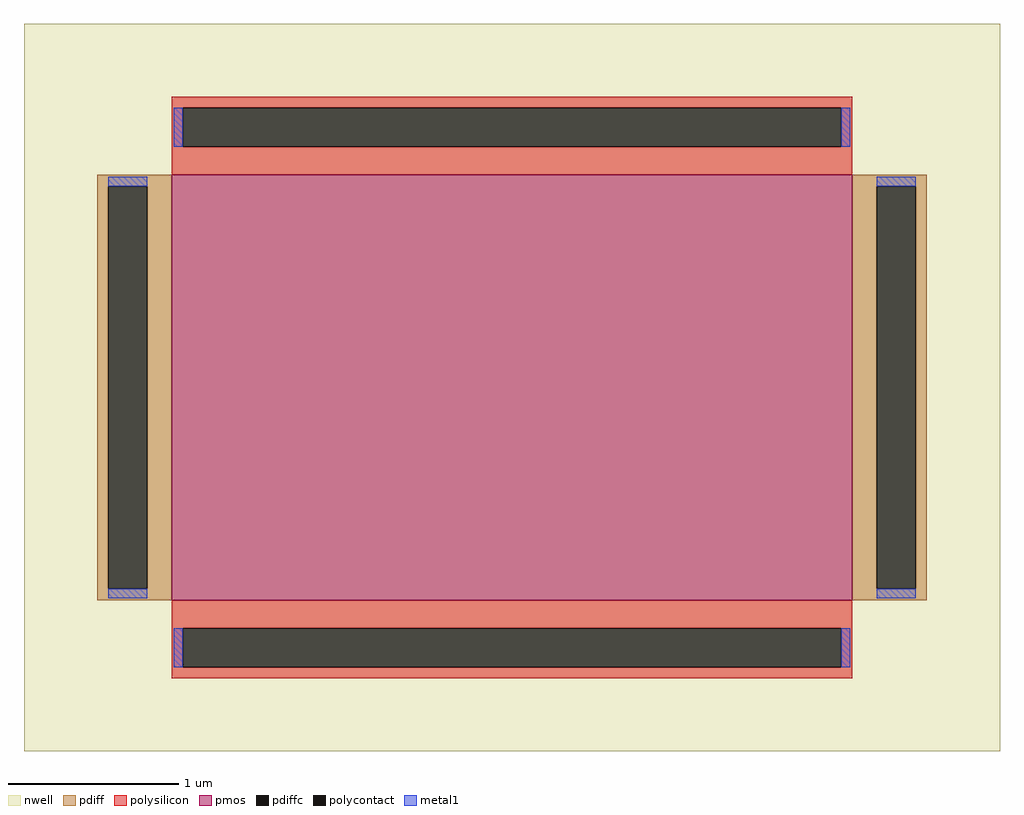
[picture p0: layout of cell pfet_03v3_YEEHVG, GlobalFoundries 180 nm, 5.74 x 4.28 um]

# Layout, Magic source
magic
tech gf180mcuD
magscale 1 10
<< nwell >>
rect -574 -428 574 428
<< pmos >>
rect -400 -250 400 250
<< pdiff >>
rect -488 237 -400 250
rect -488 -237 -475 237
rect -429 -237 -400 237
rect -488 -250 -400 -237
rect 400 237 488 250
rect 400 -237 429 237
rect 475 -237 488 237
rect 400 -250 488 -237
<< pdiffc >>
rect -475 -237 -429 237
rect 429 -237 475 237
<< polysilicon >>
rect -400 329 400 342
rect -400 283 -387 329
rect 387 283 400 329
rect -400 250 400 283
rect -400 -283 400 -250
rect -400 -329 -387 -283
rect 387 -329 400 -283
rect -400 -342 400 -329
<< polycontact >>
rect -387 283 387 329
rect -387 -329 387 -283
<< metal1 >>
rect -398 283 -387 329
rect 387 283 398 329
rect -475 237 -429 248
rect -475 -248 -429 -237
rect 429 237 475 248
rect 429 -248 475 -237
rect -398 -329 -387 -283
rect 387 -329 398 -283
<< properties >>
string gencell pfet_03v3
string library gf180mcu
string parameters w 2.5 l 4 m 1 nf 1 diffcov 100 polycov 100 guard 0 glc 0 grc 0 gtc 0 gbc 0 tbcov 100 rlcov 100 topc 1 botc 1 poverlap 0 doverlap 1 lmin 0.28 wmin 0.22 class mosfet full_metal 0 compatible {pfet_03v3 pfet_05v0 pfet_06v0}
<< end >>
